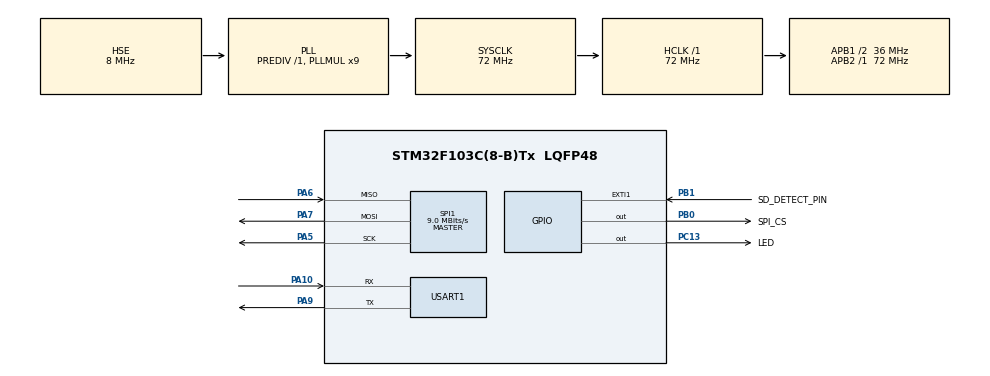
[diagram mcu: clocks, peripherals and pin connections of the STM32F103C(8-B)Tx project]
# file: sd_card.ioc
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Mcu.Family=STM32F1
Mcu.Name=STM32F103C(8-B)Tx
Mcu.Package=LQFP48
NVIC.EXTI1_IRQn=true\:0\:0\:false\:false\:true\:true\:true\:true
NVIC.PriorityGroup=NVIC_PRIORITYGROUP_4
NVIC.USART1_IRQn=true\:0\:0\:false\:false\:true\:true\:true\:true
PA10.Mode=Asynchronous
PA10.Signal=USART1_RX
PA13.Mode=Serial_Wire
PA13.Signal=SYS_JTMS-SWDIO
PA14.Mode=Serial_Wire
PA14.Signal=SYS_JTCK-SWCLK
PA5.Mode=Full_Duplex_Master
PA5.Signal=SPI1_SCK
PA6.Mode=Full_Duplex_Master
PA6.Signal=SPI1_MISO
PA7.Mode=Full_Duplex_Master
PA7.Signal=SPI1_MOSI
PA9.Mode=Asynchronous
PA9.Signal=USART1_TX
PB0.GPIO_Label=SPI_CS
PB0.Signal=GPIO_Output
PB1.GPIO_Label=SD_DETECT_PIN
PB1.Signal=GPXTI1
PC13-TAMPER-RTC.GPIO_Label=LED
PC13-TAMPER-RTC.Signal=GPIO_Output
PD0-OSC_IN.Mode=HSE-External-Oscillator
PD0-OSC_IN.Signal=RCC_OSC_IN
PD1-OSC_OUT.Mode=HSE-External-Oscillator
PD1-OSC_OUT.Signal=RCC_OSC_OUT
ProjectManager.HeapSize=0x200
ProjectManager.StackSize=0x400
ProjectManager.TargetToolchain=STM32CubeIDE
RCC.AHBFreq_Value=72000000
RCC.APB1CLKDivider=RCC_HCLK_DIV2
RCC.APB1Freq_Value=36000000
RCC.APB1TimFreq_Value=72000000
RCC.APB2Freq_Value=72000000
RCC.APB2TimFreq_Value=72000000
RCC.HCLKFreq_Value=72000000
RCC.PLLMUL=RCC_PLL_MUL9
RCC.PLLSourceVirtual=RCC_PLLSOURCE_HSE
RCC.SYSCLKFreq_VALUE=72000000
RCC.SYSCLKSource=RCC_SYSCLKSOURCE_PLLCLK
RCC.USBFreq_Value=72000000
SPI1.BaudRatePrescaler=SPI_BAUDRATEPRESCALER_8
SPI1.CalculateBaudRate=9.0 MBits/s
SPI1.Direction=SPI_DIRECTION_2LINES
SPI1.Mode=SPI_MODE_MASTER
SPI1.VirtualType=VM_MASTER
USART1.VirtualMode=VM_ASYNC
VP_FATFS_VS_Generic.Mode=User_defined
board=custom

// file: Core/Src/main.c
/* USER CODE BEGIN Header */
/**
  ******************************************************************************
  * @file           : main.c
  * @brief          : Main program body
  ******************************************************************************
  * @attention
  *
  * Copyright (c) 2024 STMicroelectronics.
  * All rights reserved.
  *
  * This software is licensed under terms that can be found in the LICENSE file
  * in the root directory of this software component.
  * If no LICENSE file comes with this software, it is provided AS-IS.
  *
  ******************************************************************************
  */
/* USER CODE END Header */
#include "main.h"

/* USER CODE BEGIN Includes */
#include "stm3210c_eval_sd.h"
#include "sd_diskio.h"
/* USER CODE END Includes */

/* USER CODE BEGIN PM */
/* LINK SD Card */
#define SD_DUMMY_BYTE      0xFF
#define SD_NO_RESPONSE_EXPECTED  0x80
/* USER CODE END PM */

SPI_HandleTypeDef hspi1;

UART_HandleTypeDef huart1;

void SystemClock_Config(void);
static void MX_GPIO_Init(void);
static void MX_SPI1_Init(void);
static void MX_USART1_UART_Init(void);
/* USER CODE BEGIN PFP */
FATFS SDFatFs;  /* File system object for SD card logical drive */
FIL MyFile;     /* File object */
char SDPath[4]; /* SD card logical drive path */
static SPI_HandleTypeDef *heval_Spi  = &hspi1;
uint32_t SpixTimeout = 5000;
/* USER CODE END PFP */

/* USER CODE BEGIN 0 */
/**
  * @brief SPI Read 4 bytes from device
  * @retval Read data
*/
static uint32_t SPIx_Read(void)
{
  HAL_StatusTypeDef status = HAL_OK;
  uint32_t          readvalue = 0;
  uint32_t          writevalue = 0xFFFFFFFF;

  status = HAL_SPI_TransmitReceive(heval_Spi, (uint8_t*) &writevalue, (uint8_t*) &readvalue, 1, SpixTimeout);

  /* Check the communication status */
  if(status != HAL_OK)
  {
    /* Execute user timeout callback */
    SPIx_Error();
  }

  return readvalue;
}

/**
  * @brief  SPI Write a byte to device
  * @param  DataIn: value to be written
  * @param  DataOut: value to be read
  * @param  DataLength: length of data
  */
static void SPIx_WriteReadData(const uint8_t *DataIn, uint8_t *DataOut, uint16_t DataLength)
{
  HAL_StatusTypeDef status = HAL_OK;

  status = HAL_SPI_TransmitReceive(heval_Spi, (uint8_t*) DataIn, DataOut, DataLength, SpixTimeout);

  /* Check the communication status */
  if(status != HAL_OK)
  {
    /* Execute user timeout callback */
    SPIx_Error();
  }
}

/**
  * @brief  SPI Write Data to device
  * @param  Data: value to be written
  * @param  DataLength: length of data
  */
static void SPIx_WriteData(const uint8_t *Data, uint16_t DataLength)
{
  HAL_StatusTypeDef status = HAL_OK;

  status = HAL_SPI_Transmit(heval_Spi, (uint8_t*) Data, DataLength, SpixTimeout);

  /* Check the communication status */
  if(status != HAL_OK)
  {
    /* Execute user timeout callback */
    SPIx_Error();
  }
}

/**
  * @brief  SPI Read Data from device
  * @param  Data: value to be read
  * @param  DataLength: length of data
  */
static void SPIx_ReadData(const uint8_t *Data, uint16_t DataLength)
{
  HAL_StatusTypeDef status = HAL_OK;

  status = HAL_SPI_Receive(heval_Spi, (uint8_t*) Data, DataLength, SpixTimeout);

  /* Check the communication status */
  if(status != HAL_OK)
  {
    /* Execute user timeout callback */
    SPIx_Error();
  }
}

/**
  * @brief  SPI Write a byte to device.
  * @param  Value: value to be written
  */
static void SPIx_Write(uint8_t Value)
{
  HAL_StatusTypeDef status = HAL_OK;
  uint8_t data;

  status = HAL_SPI_TransmitReceive(heval_Spi, (uint8_t*) &Value, &data, 1, SpixTimeout);

  /* Check the communication status */
  if(status != HAL_OK)
  {
    /* Execute user timeout callback */
    SPIx_Error();
  }
}

/**
  * @brief  SPI error treatment function
  * @retval None
  */
void SPIx_Error (void)
{
  /* De-initialize the SPI communication BUS */
  HAL_SPI_DeInit(heval_Spi);

  /* Re-Initiaize the SPI communication BUS */
  MX_SPI1_Init();
}
/******************************** LINK SD Card ********************************/

/**
  * @brief  Initializes the SD Card and put it into StandBy State (Ready for
  *         data transfer).
  */
void SD_IO_Init(void)
{
  GPIO_InitTypeDef  gpioinitstruct;
  uint8_t counter;

  /* SD_CS_GPIO and SD_DETECT_GPIO Periph clock enable */

  /*------------Put SD in SPI mode--------------*/
  /* SD SPI Config */
  MX_SPI1_Init();

  /* SD chip select high */
  SD_CS_HIGH();

  /* Send dummy byte 0xFF, 10 times with CS high */
  /* Rise CS and MOSI for 80 clocks cycles */
  for (counter = 0; counter <= 9; counter++)
  {
    /* Send dummy byte 0xFF */
    SD_IO_WriteByte(SD_DUMMY_BYTE);
  }
}

/**
  * @brief  Set the SD_CS pin.
  * @param  pin value.
  * @retval None
  */
void SD_IO_CSState(uint8_t val)
{
  if(val == 1)
  {
    SD_CS_HIGH();
}
  else
  {
    SD_CS_LOW();
  }
}

/**
  * @brief Write a byte on the SD.
  * @param  DataIn: value to be written
  * @param  DataOut: value to be read
  * @param  DataLength: length of data
  */
void SD_IO_WriteReadData(const uint8_t *DataIn, uint8_t *DataOut, uint16_t DataLength)
{
  /* Send the byte */
  SPIx_WriteReadData(DataIn, DataOut, DataLength);
}

/**
  * @brief  Write a byte on the SD.
  * @param  Data: value to be written
  * @param  DataLength: length of data
  */
void SD_IO_WriteData(const uint8_t *Data, uint16_t DataLength)
{
  /* Send the byte */
  SPIx_WriteData(Data, DataLength);
}

/**
  * @brief  Read a byte from the SD.
  * @param  Data: value to be read
  * @param  DataLength: length of data
  */
void SD_IO_ReadData(const uint8_t *Data, uint16_t DataLength)
{
  /* Send the byte */
  SPIx_ReadData(Data, DataLength);
}

/**
  * @brief  Writes a byte on the SD.
  * @param  Data: byte to send.
  */
uint8_t SD_IO_WriteByte(uint8_t Data)
{
  uint8_t tmp;
  /* Send the byte */
  SPIx_WriteReadData(&Data,&tmp,1);
  return tmp;
}
/* USER CODE END 0 */

int main(void)
{
  /* USER CODE BEGIN 1 */
	  FRESULT res;                                          /* FatFs function common result code */
	  uint32_t byteswritten, bytesread;                     /* File write/read counts */
	  uint8_t wtext[] = "This is STM32 working with FatFs, make Holovko Oleksander"; /* File write buffer */
	  uint8_t rtext[100];
  /* USER CODE END 1 */

  /* MCU Configuration--------------------------------------------------------*/

  /* Reset of all peripherals, Initializes the Flash interface and the Systick. */
  HAL_Init();

  /* Configure the system clock */
  SystemClock_Config();

  /* Initialize all configured peripherals */
  MX_GPIO_Init();
  MX_SPI1_Init();
  MX_USART1_UART_Init();
  //MX_FATFS_Init();
  /* USER CODE BEGIN 2 */
  HAL_GPIO_WritePin(LED_GPIO_Port, LED_Pin, GPIO_PIN_RESET);
  HAL_Delay(500);
  HAL_GPIO_WritePin(LED_GPIO_Port, LED_Pin, GPIO_PIN_SET);
  /*##-1- Link the micro SD disk I/O driver ##################################*/
    if(FATFS_LinkDriver(&SD_Driver, SDPath) == 0)
    {
      /*##-2- Register the file system object to the FatFs module ##############*/
      if(f_mount(&SDFatFs, (TCHAR const*)SDPath, 0) != FR_OK)
      {
        /* FatFs Initialization Error */
          Error_Handler();
      }
      else
      {
        /*##-3- Create a FAT file system (format) on the logical drive #########*/
        /* WARNING: Formatting the uSD card will delete all content on the device */
        if(f_mkfs((TCHAR const*)SDPath, 0, 0) != FR_OK)
        {
          /* FatFs Format Error */
          Error_Handler();
        }
        else
        {
          /*##-4- Create and Open a new text file object with write access #####*/
          if(f_open(&MyFile, "STM32.TXT", FA_CREATE_ALWAYS | FA_WRITE) != FR_OK)
          {
            /* 'STM32.TXT' file Open for write Error */
            Error_Handler();
          }
          else
          {
            /*##-5- Write data to the text file ################################*/
            res = f_write(&MyFile, wtext, sizeof(wtext), (void *)&byteswritten);

            /*##-6- Close the open text file #################################*/
            if (f_close(&MyFile) != FR_OK )
            {
              Error_Handler();
            }

            if((byteswritten == 0) || (res != FR_OK))
            {
              /* 'STM32.TXT' file Write or EOF Error */
              Error_Handler();
            }
            else
            {
              /*##-7- Open the text file object with read access ###############*/
              if(f_open(&MyFile, "STM32.TXT", FA_READ) != FR_OK)
              {
                /* 'STM32.TXT' file Open for read Error */
                Error_Handler();
              }
              else
              {
                /*##-8- Read data from the text file ###########################*/
                res = f_read(&MyFile, rtext, sizeof(rtext), (UINT*)&bytesread);

                if((bytesread == 0) || (res != FR_OK))
                {
                  /* 'STM32.TXT' file Read or EOF Error */
                  Error_Handler();
                }
                else
                {
                  /*##-9- Close the open text file #############################*/
                  f_close(&MyFile);

                  /*##-10- Compare read data with the expected data ############*/
                  if((bytesread != byteswritten))
                  {
                    /* Read data is different from the expected data */
                    Error_Handler();
                  }
                  else
                  {
                    /* Success of the demo: no error occurrence */

                  }
                }
              }
            }
          }
        }
      }
    }
    else
    {
        //HAL_GPIO_WritePin(LED_GPIO_Port, LED_Pin, GPIO_PIN_RESET);
    }

    /*##-11- Unlink the RAM disk I/O driver ####################################*/
    FATFS_UnLinkDriver(SDPath);
  /* USER CODE END 2 */

  /* Infinite loop */
  while (1)
  {

  }
}

void SystemClock_Config(void)
{
  RCC_OscInitTypeDef RCC_OscInitStruct = {0};
  RCC_ClkInitTypeDef RCC_ClkInitStruct = {0};

  /** Initializes the RCC Oscillators according to the specified parameters
  * in the RCC_OscInitTypeDef structure.
  */
  RCC_OscInitStruct.OscillatorType = RCC_OSCILLATORTYPE_HSE;
  RCC_OscInitStruct.HSEState = RCC_HSE_ON;
  RCC_OscInitStruct.HSEPredivValue = RCC_HSE_PREDIV_DIV1;
  RCC_OscInitStruct.HSIState = RCC_HSI_ON;
  RCC_OscInitStruct.PLL.PLLState = RCC_PLL_ON;
  RCC_OscInitStruct.PLL.PLLSource = RCC_PLLSOURCE_HSE;
  RCC_OscInitStruct.PLL.PLLMUL = RCC_PLL_MUL9;
  if (HAL_RCC_OscConfig(&RCC_OscInitStruct) != HAL_OK)
  {
    Error_Handler();
  }

  /** Initializes the CPU, AHB and APB buses clocks
  */
  RCC_ClkInitStruct.ClockType = RCC_CLOCKTYPE_HCLK|RCC_CLOCKTYPE_SYSCLK
                              |RCC_CLOCKTYPE_PCLK1|RCC_CLOCKTYPE_PCLK2;
  RCC_ClkInitStruct.SYSCLKSource = RCC_SYSCLKSOURCE_PLLCLK;
  RCC_ClkInitStruct.AHBCLKDivider = RCC_SYSCLK_DIV1;
  RCC_ClkInitStruct.APB1CLKDivider = RCC_HCLK_DIV2;
  RCC_ClkInitStruct.APB2CLKDivider = RCC_HCLK_DIV1;

  if (HAL_RCC_ClockConfig(&RCC_ClkInitStruct, FLASH_LATENCY_2) != HAL_OK)
  {
    Error_Handler();
  }
}

static void MX_SPI1_Init(void)
{

  /* SPI1 parameter configuration*/
  hspi1.Instance = SPI1;
  hspi1.Init.Mode = SPI_MODE_MASTER;
  hspi1.Init.Direction = SPI_DIRECTION_2LINES;
  hspi1.Init.DataSize = SPI_DATASIZE_8BIT;
  hspi1.Init.CLKPolarity = SPI_POLARITY_LOW;
  hspi1.Init.CLKPhase = SPI_PHASE_1EDGE;
  hspi1.Init.NSS = SPI_NSS_SOFT;
  hspi1.Init.BaudRatePrescaler = SPI_BAUDRATEPRESCALER_8;
  hspi1.Init.FirstBit = SPI_FIRSTBIT_MSB;
  hspi1.Init.TIMode = SPI_TIMODE_DISABLE;
  hspi1.Init.CRCCalculation = SPI_CRCCALCULATION_DISABLE;
  hspi1.Init.CRCPolynomial = 10;
  if (HAL_SPI_Init(&hspi1) != HAL_OK)
  {
    Error_Handler();
  }

}

static void MX_USART1_UART_Init(void)
{

  huart1.Instance = USART1;
  huart1.Init.BaudRate = 115200;
  huart1.Init.WordLength = UART_WORDLENGTH_8B;
  huart1.Init.StopBits = UART_STOPBITS_1;
  huart1.Init.Parity = UART_PARITY_NONE;
  huart1.Init.Mode = UART_MODE_TX_RX;
  huart1.Init.HwFlowCtl = UART_HWCONTROL_NONE;
  huart1.Init.OverSampling = UART_OVERSAMPLING_16;
  if (HAL_UART_Init(&huart1) != HAL_OK)
  {
    Error_Handler();
  }

}

static void MX_GPIO_Init(void)
{
  GPIO_InitTypeDef GPIO_InitStruct = {0};

  /* GPIO Ports Clock Enable */
  __HAL_RCC_GPIOC_CLK_ENABLE();
  __HAL_RCC_GPIOD_CLK_ENABLE();
  __HAL_RCC_GPIOA_CLK_ENABLE();
  __HAL_RCC_GPIOB_CLK_ENABLE();

  /*Configure GPIO pin Output Level */
  HAL_GPIO_WritePin(LED_GPIO_Port, LED_Pin, GPIO_PIN_RESET);

  /*Configure GPIO pin Output Level */
  HAL_GPIO_WritePin(SPI_CS_GPIO_Port, SPI_CS_Pin, GPIO_PIN_RESET);

  /*Configure GPIO pin : LED_Pin */
  GPIO_InitStruct.Pin = LED_Pin;
  GPIO_InitStruct.Mode = GPIO_MODE_OUTPUT_PP;
  GPIO_InitStruct.Pull = GPIO_NOPULL;
  GPIO_InitStruct.Speed = GPIO_SPEED_FREQ_LOW;
  HAL_GPIO_Init(LED_GPIO_Port, &GPIO_InitStruct);

  /*Configure GPIO pin : SPI_CS_Pin */
  GPIO_InitStruct.Pin = SPI_CS_Pin;
  GPIO_InitStruct.Mode = GPIO_MODE_OUTPUT_PP;
  GPIO_InitStruct.Pull = GPIO_NOPULL;
  GPIO_InitStruct.Speed = GPIO_SPEED_FREQ_LOW;
  HAL_GPIO_Init(SPI_CS_GPIO_Port, &GPIO_InitStruct);

  /*Configure GPIO pin : SD_DETECT_PIN_Pin */
  GPIO_InitStruct.Pin = SD_DETECT_PIN_Pin;
  GPIO_InitStruct.Mode = GPIO_MODE_IT_RISING;
  GPIO_InitStruct.Pull = GPIO_NOPULL;
  HAL_GPIO_Init(SD_DETECT_PIN_GPIO_Port, &GPIO_InitStruct);

  /* EXTI interrupt init*/
  HAL_NVIC_SetPriority(EXTI1_IRQn, 0, 0);
  HAL_NVIC_EnableIRQ(EXTI1_IRQn);

}

void Error_Handler(void)
{
  /* USER CODE BEGIN Error_Handler_Debug */
  /* User can add his own implementation to report the HAL error return state */
  //__disable_irq();
  while (1)
  {
      HAL_GPIO_TogglePin(LED_GPIO_Port, LED_Pin);
      HAL_Delay(100);
  }
  /* USER CODE END Error_Handler_Debug */
}
